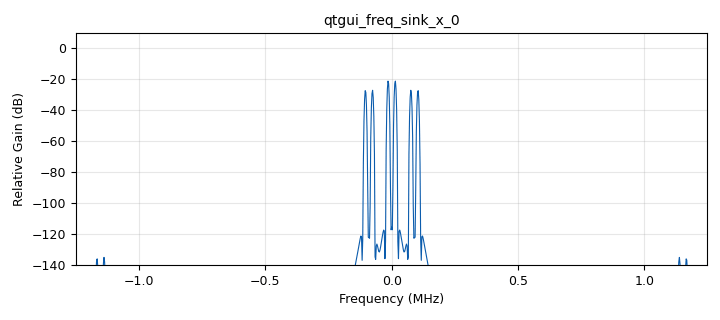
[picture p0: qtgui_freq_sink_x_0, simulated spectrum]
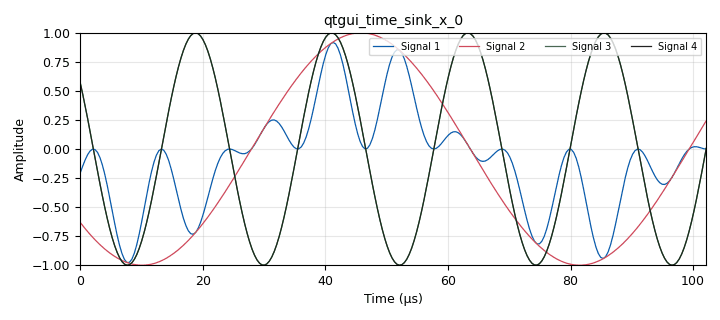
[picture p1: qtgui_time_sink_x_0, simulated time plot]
options:
  parameters:
    generate_options: qt_gui
    id: LAB1
    output_language: python
    title: parte 3
  states: {}

blocks:
- name: samp_rate
  id: variable
  parameters:
    value: 208000*12
  states: {}
- name: analog_sig_source_x_0
  id: analog_sig_source_x
  parameters:
    amp: '1'
    freq: '14000'
    offset: '0'
    phase: '0'
    samp_rate: samp_rate
    type: float
    waveform: analog.GR_COS_WAVE
  states: {}
- name: analog_sig_source_x_1
  id: analog_sig_source_x
  parameters:
    amp: '1'
    freq: '45000'
    offset: '0'
    phase: '0'
    samp_rate: samp_rate
    type: float
    waveform: analog.GR_COS_WAVE
  states: {}
- name: analog_sig_source_x_2
  id: analog_sig_source_x
  parameters:
    amp: '1'
    freq: '45000'
    offset: '0'
    phase: '0'
    samp_rate: samp_rate
    type: float
    waveform: analog.GR_COS_WAVE
  states: {}
- name: blocks_multiply_xx_0
  id: blocks_multiply_xx
  parameters:
    num_inputs: '3'
    type: float
  states: {}
- name: qtgui_freq_sink_x_0
  id: qtgui_freq_sink_x
  parameters:
    bw: samp_rate
    fc: '0'
    fftsize: '1024'
    type: float
    wintype: firdes.WIN_BLACKMAN_hARRIS
  states: {}
- name: qtgui_time_sink_x_0
  id: qtgui_time_sink_x
  parameters:
    nconnections: '4'
    size: '256'
    srate: samp_rate
    type: float
  states: {}

connections:
- [analog_sig_source_x_0, '0', blocks_multiply_xx_0, '0']
- [analog_sig_source_x_0, '0', qtgui_time_sink_x_0, '1']
- [analog_sig_source_x_1, '0', blocks_multiply_xx_0, '1']
- [analog_sig_source_x_1, '0', qtgui_time_sink_x_0, '2']
- [analog_sig_source_x_2, '0', blocks_multiply_xx_0, '2']
- [analog_sig_source_x_2, '0', qtgui_time_sink_x_0, '3']
- [blocks_multiply_xx_0, '0', qtgui_freq_sink_x_0, '0']
- [blocks_multiply_xx_0, '0', qtgui_time_sink_x_0, '0']

metadata:
  file_format: 1
